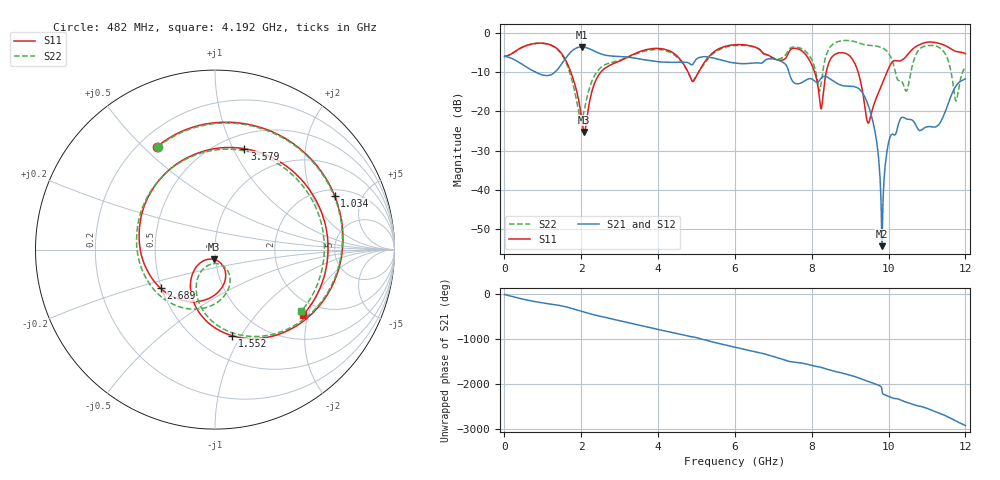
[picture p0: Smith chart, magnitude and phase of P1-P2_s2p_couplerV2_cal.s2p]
!Keysight Technologies,N5242B,US61255121,A.15.50.07
!Date: Tuesday, October 28, 2025 15:20:55
!Correction: S11(C  2-Port  )
!S21(C  2-Port  )
!S12(C  2-Port  )
!S22(C  2-Port  )
!S2P File: Measurements: S11, S21, S12, S22:
# Hz S  dB  R 50
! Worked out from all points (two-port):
!   11991 points, 10 MHz to 12 GHz, reference 50 ohm
!   highest |S21| = -3.62 dB at 2.019 GHz (marker M1); lowest = -54.2 dB at 9.829 GHz (marker M2)
!   |S21| within 3 dB of the highest: 1.591 GHz to 3.483 GHz (1.892 GHz wide, 74.6 % of centre); 5.017 GHz to 5.513 GHz (495.4 MHz wide, 9.41 % of centre) (the widest 2 of 3)
!   lowest |S11| = -25.2 dB at 2.085 GHz (marker M3), VSWR 1.12, Z = 48.9 - j5.31 ohm
!   |S11| at or under -10 dB: 1.732 GHz to 2.516 GHz (784.4 MHz wide, 36.9 % of centre); 8.077 GHz to 8.38 GHz (303 MHz wide, 3.68 % of centre); 9.208 GHz to 9.961 GHz (753.2 MHz wide, 7.86 % of centre) (the widest 3 of 4)
!   |S22| runs from -22.2 to -2.0 dB; largest |S21 - S12| = 0.00081
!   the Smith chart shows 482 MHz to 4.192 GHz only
!   S11 on the Smith chart (normalised r, x): 482 MHz: 0.27, +0.55; 1.034 GHz: 2.30, +2.98; 1.552 GHz: 0.73, -0.92; 2.689 GHz: 0.49, -0.25; 3.579 GHz: 0.65, +1.11; 4.192 GHz: 1.60, -1.86
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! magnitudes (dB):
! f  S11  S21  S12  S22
! 10 MHz  -6.0  -6.0  -6.0  -6.0
! 482 MHz  -3.6  -8.1  -8.1  -3.7
! 1.034 GHz  -2.7  -10.9  -10.8  -2.8
! 1.552 GHz  -6.2  -7.2  -7.2  -6.5
! 2.009 GHz  -21.4  -3.6  -3.6  -22.2
! 2.019 GHz  -22.1  -3.6  -3.6  -22.1
! 2.085 GHz  -25.2  -3.7  -3.7  -19.6
! 2.689 GHz  -8.6  -5.8  -5.8  -7.9
! 3.579 GHz  -4.7  -6.8  -6.8  -4.9
! 4.007 GHz  -4.0  -7.4  -7.4  -4.3
! 4.192 GHz  -4.3  -7.5  -7.5  -4.6
! 4.913 GHz  -12.4  -8.0  -8.0  -12.2
! 6.005 GHz  -3.1  -7.7  -7.7  -3.3
! 8.004 GHz  -8.2  -11.8  -11.8  -6.9
! 8.246 GHz  -19.3  -11.6  -11.6  -13.0
! 8.938 GHz  -5.5  -13.6  -13.6  -2.0
! 9.35 GHz  -16.5  -15.7  -15.7  -3.0
! 9.829 GHz  -13.1  -54.2  -54.2  -3.8
! 10 GHz  -9.1  -27.9  -27.8  -5.3
! 10.45 GHz  -6.1  -21.9  -21.9  -14.8
! 10.92 GHz  -2.6  -24.3  -24.3  -3.5
! 12 GHz  -5.4  -11.7  -11.7  -8.9
